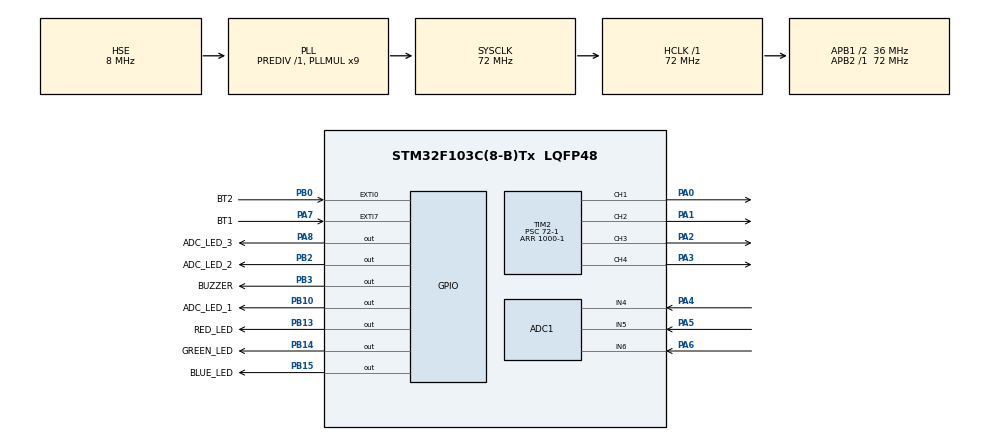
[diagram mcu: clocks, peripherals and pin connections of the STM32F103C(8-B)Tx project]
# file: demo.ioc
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ADC1.Channel-0\#ChannelRegularConversion=ADC_CHANNEL_4
ADC1.Channel-1\#ChannelRegularConversion=ADC_CHANNEL_5
ADC1.Channel-2\#ChannelRegularConversion=ADC_CHANNEL_6
ADC1.ContinuousConvMode=ENABLE
ADC1.NbrOfConversion=3
ADC1.NbrOfConversionFlag=1
ADC1.Rank-0\#ChannelRegularConversion=1
ADC1.Rank-1\#ChannelRegularConversion=2
ADC1.Rank-2\#ChannelRegularConversion=3
ADC1.SamplingTime-0\#ChannelRegularConversion=ADC_SAMPLETIME_239CYCLES_5
ADC1.SamplingTime-1\#ChannelRegularConversion=ADC_SAMPLETIME_239CYCLES_5
ADC1.SamplingTime-2\#ChannelRegularConversion=ADC_SAMPLETIME_239CYCLES_5
ADC1.master=1
Dma.ADC1.0.Direction=DMA_PERIPH_TO_MEMORY
Dma.ADC1.0.Instance=DMA1_Channel1
Dma.ADC1.0.MemDataAlignment=DMA_MDATAALIGN_HALFWORD
Dma.ADC1.0.MemInc=DMA_MINC_ENABLE
Dma.ADC1.0.Mode=DMA_CIRCULAR
Dma.ADC1.0.PeriphDataAlignment=DMA_PDATAALIGN_HALFWORD
Dma.ADC1.0.PeriphInc=DMA_PINC_DISABLE
Dma.ADC1.0.Priority=DMA_PRIORITY_LOW
Dma.Request0=ADC1
FREERTOS.Tasks01=defaultTask,-2,128,StartDefaultTask,Default,NULL,Dynamic,NULL,NULL;PIDTask,1,128,StartPIDTask,Default,NULL,Dynamic,NULL,NULL;LEDTask,-1,128,StartLEDTask,Default,NULL,Dynamic,NULL,NULL
FREERTOS.configUSE_NEWLIB_REENTRANT=1
Mcu.Family=STM32F1
Mcu.Name=STM32F103C(8-B)Tx
Mcu.Package=LQFP48
NVIC.DMA1_Channel1_IRQn=true\:5\:0\:false\:false\:true\:true\:false\:true\:true
NVIC.EXTI0_IRQn=true\:5\:0\:false\:false\:true\:true\:true\:true\:true
NVIC.EXTI9_5_IRQn=true\:5\:0\:false\:false\:true\:true\:true\:true\:true
NVIC.PriorityGroup=NVIC_PRIORITYGROUP_4
NVIC.TIM1_UP_IRQn=true\:15\:0\:false\:false\:true\:false\:false\:true\:true
NVIC.TimeBase=TIM1_UP_IRQn
NVIC.TimeBaseIP=TIM1
PA0-WKUP.Signal=S_TIM2_CH1_ETR
PA1.Signal=S_TIM2_CH2
PA13.Mode=Serial_Wire
PA13.Signal=SYS_JTMS-SWDIO
PA14.Mode=Serial_Wire
PA14.Signal=SYS_JTCK-SWCLK
PA2.Signal=S_TIM2_CH3
PA3.Signal=S_TIM2_CH4
PA4.Signal=ADCx_IN4
PA5.Signal=ADCx_IN5
PA6.Signal=ADCx_IN6
PA7.GPIO_Label=BT1
PA7.GPIO_PuPd=GPIO_PULLUP
PA7.Signal=GPXTI7
PA8.GPIO_Label=ADC_LED_3
PA8.Signal=GPIO_Output
PB0.GPIO_Label=BT2
PB0.GPIO_PuPd=GPIO_PULLUP
PB0.Signal=GPXTI0
PB10.GPIO_Label=ADC_LED_1
PB10.Signal=GPIO_Output
PB13.GPIO_Label=RED_LED
PB13.Signal=GPIO_Output
PB14.GPIO_Label=GREEN_LED
PB14.Signal=GPIO_Output
PB15.GPIO_Label=BLUE_LED
PB15.Signal=GPIO_Output
PB2.GPIO_Label=ADC_LED_2
PB2.Signal=GPIO_Output
PB3.GPIO_Label=BUZZER
PB3.Signal=GPIO_Output
PD0-OSC_IN.Mode=HSE-External-Oscillator
PD0-OSC_IN.Signal=RCC_OSC_IN
PD1-OSC_OUT.Mode=HSE-External-Oscillator
PD1-OSC_OUT.Signal=RCC_OSC_OUT
ProjectManager.HeapSize=0x200
ProjectManager.StackSize=0x400
ProjectManager.TargetToolchain=STM32CubeIDE
RCC.ADCPresc=RCC_ADCPCLK2_DIV6
RCC.AHBFreq_Value=72000000
RCC.APB1CLKDivider=RCC_HCLK_DIV2
RCC.APB1Freq_Value=36000000
RCC.APB1TimFreq_Value=72000000
RCC.APB2Freq_Value=72000000
RCC.APB2TimFreq_Value=72000000
RCC.HCLKFreq_Value=72000000
RCC.PLLMUL=RCC_PLL_MUL9
RCC.PLLSourceVirtual=RCC_PLLSOURCE_HSE
RCC.SYSCLKFreq_VALUE=72000000
RCC.SYSCLKSource=RCC_SYSCLKSOURCE_PLLCLK
RCC.USBFreq_Value=72000000
SH.ADCx_IN4.0=ADC1_IN4,IN4
SH.ADCx_IN5.0=ADC1_IN5,IN5
SH.ADCx_IN6.0=ADC1_IN6,IN6
SH.S_TIM2_CH1_ETR.0=TIM2_CH1,PWM Generation1 CH1
SH.S_TIM2_CH2.0=TIM2_CH2,PWM Generation2 CH2
SH.S_TIM2_CH3.0=TIM2_CH3,PWM Generation3 CH3
SH.S_TIM2_CH4.0=TIM2_CH4,PWM Generation4 CH4
TIM2.Channel-PWM\ Generation1\ CH1=TIM_CHANNEL_1
TIM2.Channel-PWM\ Generation2\ CH2=TIM_CHANNEL_2
TIM2.Channel-PWM\ Generation3\ CH3=TIM_CHANNEL_3
TIM2.Channel-PWM\ Generation4\ CH4=TIM_CHANNEL_4
TIM2.Period=1000-1
TIM2.Prescaler=72-1
VP_FREERTOS_VS_CMSIS_V1.Mode=CMSIS_V1
VP_SYS_VS_tim1.Mode=TIM1
board=custom

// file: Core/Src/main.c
/* USER CODE BEGIN Header */
/**
  ******************************************************************************
  * @file           : main.c
  * @brief          : Main program body
  ******************************************************************************
  * @attention
  *
  * Copyright (c) 2024 STMicroelectronics.
  * All rights reserved.
  *
  * This software is licensed under terms that can be found in the LICENSE file
  * in the root directory of this software component.
  * If no LICENSE file comes with this software, it is provided AS-IS.
  *
  ******************************************************************************
  */
/* USER CODE END Header */
#include "main.h"
#include "cmsis_os.h"

/* USER CODE BEGIN Includes */
#include "stdlib.h"
/* USER CODE END Includes */

ADC_HandleTypeDef hadc1;
DMA_HandleTypeDef hdma_adc1;

TIM_HandleTypeDef htim2;

osThreadId defaultTaskHandle;
osThreadId PIDTaskHandle;
osThreadId LEDTaskHandle;
/* USER CODE BEGIN PV */
int16_t lsp, rsp;

uint16_t sensor_value[3];
uint16_t MinOfMax[3] = {2400};
uint16_t MaxOfMin[3] = {1200};
uint16_t v_compare[3];
uint16_t calib_weight[3] = {0, 400, 800};
uint8_t start_learn = 0;
uint8_t run_enable = 0;
uint8_t ready = 0;
float error;
float uP, uI, uD, u;
float deltaT = 0.001;
float pre_uI, pre_error;

////CONFIG HERE/////
int16_t speed = 900;
float kP = 1.5;
float kD = 0.3;

///////////////////

/* USER CODE END PV */

void SystemClock_Config(void);
static void MX_GPIO_Init(void);
static void MX_DMA_Init(void);
static void MX_ADC1_Init(void);
static void MX_TIM2_Init(void);
void StartDefaultTask(void const * argument);
void StartPIDTask(void const * argument);
void StartLEDTask(void const * argument);

/* USER CODE BEGIN 0 */
uint8_t get_sensor_mask(void)
{
	uint8_t temp = 0;
	for(uint8_t i = 0; i < 3; i++)
	{
		temp <<= 1;
		if(sensor_value[i] > v_compare[i])
		{
			temp |= 0x01;
		}
		else
		{
			temp &= 0x06;
		}
	}
	return temp;
}

void run(int16_t left_speed, int16_t right_speed)
{
	if(left_speed > 0)
	{
		__HAL_TIM_SET_COMPARE(&htim2, TIM_CHANNEL_1, 0);
		__HAL_TIM_SET_COMPARE(&htim2, TIM_CHANNEL_2, left_speed);
	}
	else if(left_speed < 0)
	{
		__HAL_TIM_SET_COMPARE(&htim2, TIM_CHANNEL_1, abs(left_speed));
		__HAL_TIM_SET_COMPARE(&htim2, TIM_CHANNEL_2, 0);
	}
	else
	{
		__HAL_TIM_SET_COMPARE(&htim2, TIM_CHANNEL_1, 0);
		__HAL_TIM_SET_COMPARE(&htim2, TIM_CHANNEL_2, 0);
	}
	if(right_speed > 0)
	{
		__HAL_TIM_SET_COMPARE(&htim2, TIM_CHANNEL_3, 0);
		__HAL_TIM_SET_COMPARE(&htim2, TIM_CHANNEL_4, right_speed);
	}
	else if(right_speed < 0)
	{
		__HAL_TIM_SET_COMPARE(&htim2, TIM_CHANNEL_3, abs(right_speed));
		__HAL_TIM_SET_COMPARE(&htim2, TIM_CHANNEL_4, 0);
	}
	else
	{
		__HAL_TIM_SET_COMPARE(&htim2, TIM_CHANNEL_3, 0);
		__HAL_TIM_SET_COMPARE(&htim2, TIM_CHANNEL_4, 0);
	}
}

void PID(float kP, float kD)
{
	error = sensor_value[2] - sensor_value[0];

	uP = kP * error;
	uD = kD * ((error - pre_error)/deltaT);

	u = uP + uD;

	if(u > 1000) u = 1000;
	else if(u < -1000) u = -1000;

	pre_error = error;
//	pre_uI = uI;

	lsp = speed - u;
	rsp = speed + u;

	run(lsp, rsp);
}

void HAL_GPIO_EXTI_Callback(uint16_t GPIO_Pin)
{
	if(GPIO_Pin == BT1_Pin)
	{
		start_learn = 1;
	}
	if(GPIO_Pin == BT2_Pin)
	{
		run_enable = 1;
	}
}
/* USER CODE END 0 */

int main(void)
{

  /* MCU Configuration--------------------------------------------------------*/

  /* Reset of all peripherals, Initializes the Flash interface and the Systick. */
  HAL_Init();

  /* Configure the system clock */
  SystemClock_Config();

  /* Initialize all configured peripherals */
  MX_GPIO_Init();
  MX_DMA_Init();
  MX_ADC1_Init();
  MX_TIM2_Init();
  /* USER CODE BEGIN 2 */
  HAL_TIM_PWM_Start(&htim2, TIM_CHANNEL_1);
  HAL_TIM_PWM_Start(&htim2, TIM_CHANNEL_2);
  HAL_TIM_PWM_Start(&htim2, TIM_CHANNEL_3);
  HAL_TIM_PWM_Start(&htim2, TIM_CHANNEL_4);

  HAL_ADC_Start_DMA(&hadc1, sensor_value, 3);
  /* USER CODE END 2 */

  /* Create the thread(s) */
  /* definition and creation of defaultTask */
  osThreadDef(defaultTask, StartDefaultTask, osPriorityLow, 0, 128);
  defaultTaskHandle = osThreadCreate(osThread(defaultTask), NULL);

  /* definition and creation of PIDTask */
  osThreadDef(PIDTask, StartPIDTask, osPriorityAboveNormal, 0, 128);
  PIDTaskHandle = osThreadCreate(osThread(PIDTask), NULL);

  /* definition and creation of LEDTask */
  osThreadDef(LEDTask, StartLEDTask, osPriorityBelowNormal, 0, 128);
  LEDTaskHandle = osThreadCreate(osThread(LEDTask), NULL);

  /* Start scheduler */
  osKernelStart();

  /* We should never get here as control is now taken by the scheduler */
  /* Infinite loop */
  while (1)
  {

  }
}

void SystemClock_Config(void)
{
  RCC_OscInitTypeDef RCC_OscInitStruct = {0};
  RCC_ClkInitTypeDef RCC_ClkInitStruct = {0};
  RCC_PeriphCLKInitTypeDef PeriphClkInit = {0};

  /** Initializes the RCC Oscillators according to the specified parameters
  * in the RCC_OscInitTypeDef structure.
  */
  RCC_OscInitStruct.OscillatorType = RCC_OSCILLATORTYPE_HSE;
  RCC_OscInitStruct.HSEState = RCC_HSE_ON;
  RCC_OscInitStruct.HSEPredivValue = RCC_HSE_PREDIV_DIV1;
  RCC_OscInitStruct.HSIState = RCC_HSI_ON;
  RCC_OscInitStruct.PLL.PLLState = RCC_PLL_ON;
  RCC_OscInitStruct.PLL.PLLSource = RCC_PLLSOURCE_HSE;
  RCC_OscInitStruct.PLL.PLLMUL = RCC_PLL_MUL9;
  if (HAL_RCC_OscConfig(&RCC_OscInitStruct) != HAL_OK)
  {
    Error_Handler();
  }

  /** Initializes the CPU, AHB and APB buses clocks
  */
  RCC_ClkInitStruct.ClockType = RCC_CLOCKTYPE_HCLK|RCC_CLOCKTYPE_SYSCLK
                              |RCC_CLOCKTYPE_PCLK1|RCC_CLOCKTYPE_PCLK2;
  RCC_ClkInitStruct.SYSCLKSource = RCC_SYSCLKSOURCE_PLLCLK;
  RCC_ClkInitStruct.AHBCLKDivider = RCC_SYSCLK_DIV1;
  RCC_ClkInitStruct.APB1CLKDivider = RCC_HCLK_DIV2;
  RCC_ClkInitStruct.APB2CLKDivider = RCC_HCLK_DIV1;

  if (HAL_RCC_ClockConfig(&RCC_ClkInitStruct, FLASH_LATENCY_2) != HAL_OK)
  {
    Error_Handler();
  }
  PeriphClkInit.PeriphClockSelection = RCC_PERIPHCLK_ADC;
  PeriphClkInit.AdcClockSelection = RCC_ADCPCLK2_DIV6;
  if (HAL_RCCEx_PeriphCLKConfig(&PeriphClkInit) != HAL_OK)
  {
    Error_Handler();
  }
}

static void MX_ADC1_Init(void)
{

  ADC_ChannelConfTypeDef sConfig = {0};

  /** Common config
  */
  hadc1.Instance = ADC1;
  hadc1.Init.ScanConvMode = ADC_SCAN_ENABLE;
  hadc1.Init.ContinuousConvMode = ENABLE;
  hadc1.Init.DiscontinuousConvMode = DISABLE;
  hadc1.Init.ExternalTrigConv = ADC_SOFTWARE_START;
  hadc1.Init.DataAlign = ADC_DATAALIGN_RIGHT;
  hadc1.Init.NbrOfConversion = 3;
  if (HAL_ADC_Init(&hadc1) != HAL_OK)
  {
    Error_Handler();
  }

  /** Configure Regular Channel
  */
  sConfig.Channel = ADC_CHANNEL_4;
  sConfig.Rank = ADC_REGULAR_RANK_1;
  sConfig.SamplingTime = ADC_SAMPLETIME_239CYCLES_5;
  if (HAL_ADC_ConfigChannel(&hadc1, &sConfig) != HAL_OK)
  {
    Error_Handler();
  }

  /** Configure Regular Channel
  */
  sConfig.Channel = ADC_CHANNEL_5;
  sConfig.Rank = ADC_REGULAR_RANK_2;
  if (HAL_ADC_ConfigChannel(&hadc1, &sConfig) != HAL_OK)
  {
    Error_Handler();
  }

  /** Configure Regular Channel
  */
  sConfig.Channel = ADC_CHANNEL_6;
  sConfig.Rank = ADC_REGULAR_RANK_3;
  if (HAL_ADC_ConfigChannel(&hadc1, &sConfig) != HAL_OK)
  {
    Error_Handler();
  }

}

static void MX_TIM2_Init(void)
{

  TIM_MasterConfigTypeDef sMasterConfig = {0};
  TIM_OC_InitTypeDef sConfigOC = {0};

  htim2.Instance = TIM2;
  htim2.Init.Prescaler = 72-1;
  htim2.Init.CounterMode = TIM_COUNTERMODE_UP;
  htim2.Init.Period = 1000-1;
  htim2.Init.ClockDivision = TIM_CLOCKDIVISION_DIV1;
  htim2.Init.AutoReloadPreload = TIM_AUTORELOAD_PRELOAD_DISABLE;
  if (HAL_TIM_PWM_Init(&htim2) != HAL_OK)
  {
    Error_Handler();
  }
  sMasterConfig.MasterOutputTrigger = TIM_TRGO_RESET;
  sMasterConfig.MasterSlaveMode = TIM_MASTERSLAVEMODE_DISABLE;
  if (HAL_TIMEx_MasterConfigSynchronization(&htim2, &sMasterConfig) != HAL_OK)
  {
    Error_Handler();
  }
  sConfigOC.OCMode = TIM_OCMODE_PWM1;
  sConfigOC.Pulse = 0;
  sConfigOC.OCPolarity = TIM_OCPOLARITY_HIGH;
  sConfigOC.OCFastMode = TIM_OCFAST_DISABLE;
  if (HAL_TIM_PWM_ConfigChannel(&htim2, &sConfigOC, TIM_CHANNEL_1) != HAL_OK)
  {
    Error_Handler();
  }
  if (HAL_TIM_PWM_ConfigChannel(&htim2, &sConfigOC, TIM_CHANNEL_2) != HAL_OK)
  {
    Error_Handler();
  }
  if (HAL_TIM_PWM_ConfigChannel(&htim2, &sConfigOC, TIM_CHANNEL_3) != HAL_OK)
  {
    Error_Handler();
  }
  if (HAL_TIM_PWM_ConfigChannel(&htim2, &sConfigOC, TIM_CHANNEL_4) != HAL_OK)
  {
    Error_Handler();
  }
  HAL_TIM_MspPostInit(&htim2);

}

static void MX_DMA_Init(void)
{

  /* DMA controller clock enable */
  __HAL_RCC_DMA1_CLK_ENABLE();

  /* DMA interrupt init */
  /* DMA1_Channel1_IRQn interrupt configuration */
  HAL_NVIC_SetPriority(DMA1_Channel1_IRQn, 5, 0);
  HAL_NVIC_EnableIRQ(DMA1_Channel1_IRQn);

}

static void MX_GPIO_Init(void)
{
  GPIO_InitTypeDef GPIO_InitStruct = {0};

  /* GPIO Ports Clock Enable */
  __HAL_RCC_GPIOD_CLK_ENABLE();
  __HAL_RCC_GPIOA_CLK_ENABLE();
  __HAL_RCC_GPIOB_CLK_ENABLE();

  /*Configure GPIO pin Output Level */
  HAL_GPIO_WritePin(GPIOB, ADC_LED_2_Pin|ADC_LED_1_Pin|RED_LED_Pin|GREEN_LED_Pin
                          |BLUE_LED_Pin|BUZZER_Pin, GPIO_PIN_RESET);

  /*Configure GPIO pin Output Level */
  HAL_GPIO_WritePin(ADC_LED_3_GPIO_Port, ADC_LED_3_Pin, GPIO_PIN_RESET);

  /*Configure GPIO pin : BT1_Pin */
  GPIO_InitStruct.Pin = BT1_Pin;
  GPIO_InitStruct.Mode = GPIO_MODE_IT_RISING;
  GPIO_InitStruct.Pull = GPIO_PULLUP;
  HAL_GPIO_Init(BT1_GPIO_Port, &GPIO_InitStruct);

  /*Configure GPIO pin : BT2_Pin */
  GPIO_InitStruct.Pin = BT2_Pin;
  GPIO_InitStruct.Mode = GPIO_MODE_IT_RISING;
  GPIO_InitStruct.Pull = GPIO_PULLUP;
  HAL_GPIO_Init(BT2_GPIO_Port, &GPIO_InitStruct);

  /*Configure GPIO pins : ADC_LED_2_Pin ADC_LED_1_Pin RED_LED_Pin GREEN_LED_Pin
                           BLUE_LED_Pin BUZZER_Pin */
  GPIO_InitStruct.Pin = ADC_LED_2_Pin|ADC_LED_1_Pin|RED_LED_Pin|GREEN_LED_Pin
                          |BLUE_LED_Pin|BUZZER_Pin;
  GPIO_InitStruct.Mode = GPIO_MODE_OUTPUT_PP;
  GPIO_InitStruct.Pull = GPIO_NOPULL;
  GPIO_InitStruct.Speed = GPIO_SPEED_FREQ_LOW;
  HAL_GPIO_Init(GPIOB, &GPIO_InitStruct);

  /*Configure GPIO pin : ADC_LED_3_Pin */
  GPIO_InitStruct.Pin = ADC_LED_3_Pin;
  GPIO_InitStruct.Mode = GPIO_MODE_OUTPUT_PP;
  GPIO_InitStruct.Pull = GPIO_NOPULL;
  GPIO_InitStruct.Speed = GPIO_SPEED_FREQ_LOW;
  HAL_GPIO_Init(ADC_LED_3_GPIO_Port, &GPIO_InitStruct);

  /* EXTI interrupt init*/
  HAL_NVIC_SetPriority(EXTI0_IRQn, 5, 0);
  HAL_NVIC_EnableIRQ(EXTI0_IRQn);

  HAL_NVIC_SetPriority(EXTI9_5_IRQn, 5, 0);
  HAL_NVIC_EnableIRQ(EXTI9_5_IRQn);

}

void StartDefaultTask(void const * argument)
{
  /* USER CODE BEGIN 5 */
  /* Infinite loop */
  for(;;)
  {
	if(start_learn)
	{
		HAL_GPIO_WritePin(RED_LED_GPIO_Port, RED_LED_Pin, 0);
		HAL_GPIO_WritePin(GREEN_LED_GPIO_Port, GREEN_LED_Pin, 1);
		HAL_GPIO_WritePin(BLUE_LED_GPIO_Port, BLUE_LED_Pin, 1);
		osDelay(1000);
		for(int i = 0; i < 500000; i++)
		{
			run(200, -200);
			for(uint8_t j = 0; j < 3; j++)
			{
				if(sensor_value[j] > MaxOfMin[j])
				{
					MaxOfMin[j] = sensor_value[j];
				}
				if(sensor_value[j] < MinOfMax[j])
				{
					MinOfMax[j] = sensor_value[j];
				}
			}
		}
		run(0, 0);
		for(uint8_t i = 0; i < 3; i++)
		{
			v_compare[i] = (MinOfMax[i] + MaxOfMin[i]) / 2 + calib_weight[i];
		}
		start_learn = 0;
	}
	switch(get_sensor_mask())
	{
		case 0x04:			// 100
//			HAL_GPIO_WritePin(RED_LED_GPIO_Port, RED_LED_Pin, 0);
//			HAL_GPIO_WritePin(GREEN_LED_GPIO_Port, GREEN_LED_Pin, 0);
//			HAL_GPIO_WritePin(BLUE_LED_GPIO_Port, BLUE_LED_Pin, 1);
			HAL_GPIO_WritePin(ADC_LED_1_GPIO_Port, ADC_LED_1_Pin, 0);
			HAL_GPIO_WritePin(ADC_LED_2_GPIO_Port, ADC_LED_2_Pin, 0);
			HAL_GPIO_WritePin(ADC_LED_3_GPIO_Port, ADC_LED_3_Pin, 1);
			break;
		case 0x06:			// 110
//			HAL_GPIO_WritePin(RED_LED_GPIO_Port, RED_LED_Pin, 0);
//			HAL_GPIO_WritePin(GREEN_LED_GPIO_Port, GREEN_LED_Pin, 1);
//			HAL_GPIO_WritePin(BLUE_LED_GPIO_Port, BLUE_LED_Pin, 1);
			HAL_GPIO_WritePin(ADC_LED_1_GPIO_Port, ADC_LED_1_Pin, 0);
			HAL_GPIO_WritePin(ADC_LED_2_GPIO_Port, ADC_LED_2_Pin, 1);
			HAL_GPIO_WritePin(ADC_LED_3_GPIO_Port, ADC_LED_3_Pin, 1);
			break;
		case 0x02:			// 010
//			HAL_GPIO_WritePin(RED_LED_GPIO_Port, RED_LED_Pin, 0);
//			HAL_GPIO_WritePin(GREEN_LED_GPIO_Port, GREEN_LED_Pin, 1);
//			HAL_GPIO_WritePin(BLUE_LED_GPIO_Port, BLUE_LED_Pin, 0);
			HAL_GPIO_WritePin(ADC_LED_1_GPIO_Port, ADC_LED_1_Pin, 0);
			HAL_GPIO_WritePin(ADC_LED_2_GPIO_Port, ADC_LED_2_Pin, 1);
			HAL_GPIO_WritePin(ADC_LED_3_GPIO_Port, ADC_LED_3_Pin, 0);
			break;
		case 0x03:			// 011
//			HAL_GPIO_WritePin(RED_LED_GPIO_Port, RED_LED_Pin, 1);
//			HAL_GPIO_WritePin(GREEN_LED_GPIO_Port, GREEN_LED_Pin, 1);
//			HAL_GPIO_WritePin(BLUE_LED_GPIO_Port, BLUE_LED_Pin, 0);
			HAL_GPIO_WritePin(ADC_LED_1_GPIO_Port, ADC_LED_1_Pin, 1);
			HAL_GPIO_WritePin(ADC_LED_2_GPIO_Port, ADC_LED_2_Pin, 1);
			HAL_GPIO_WritePin(ADC_LED_3_GPIO_Port, ADC_LED_3_Pin, 0);
			break;
		case 0x01:			// 001
//			HAL_GPIO_WritePin(RED_LED_GPIO_Port, RED_LED_Pin, 1);
//			HAL_GPIO_WritePin(GREEN_LED_GPIO_Port, GREEN_LED_Pin, 0);
//			HAL_GPIO_WritePin(BLUE_LED_GPIO_Port, BLUE_LED_Pin, 0);
			HAL_GPIO_WritePin(ADC_LED_1_GPIO_Port, ADC_LED_1_Pin, 1);
			HAL_GPIO_WritePin(ADC_LED_2_GPIO_Port, ADC_LED_2_Pin, 0);
			HAL_GPIO_WritePin(ADC_LED_3_GPIO_Port, ADC_LED_3_Pin, 0);
			break;
		case 0x05:			// 101
//			HAL_GPIO_WritePin(RED_LED_GPIO_Port, RED_LED_Pin, 1);
//			HAL_GPIO_WritePin(GREEN_LED_GPIO_Port, GREEN_LED_Pin, 0);
//			HAL_GPIO_WritePin(BLUE_LED_GPIO_Port, BLUE_LED_Pin, 1);
			HAL_GPIO_WritePin(ADC_LED_1_GPIO_Port, ADC_LED_1_Pin, 1);
			HAL_GPIO_WritePin(ADC_LED_2_GPIO_Port, ADC_LED_2_Pin, 0);
			HAL_GPIO_WritePin(ADC_LED_3_GPIO_Port, ADC_LED_3_Pin, 1);
			break;
		case 0x07:			// 111
//			HAL_GPIO_WritePin(RED_LED_GPIO_Port, RED_LED_Pin, 1);
//			HAL_GPIO_WritePin(GREEN_LED_GPIO_Port, GREEN_LED_Pin, 1);
//			HAL_GPIO_WritePin(BLUE_LED_GPIO_Port, BLUE_LED_Pin, 1);
			HAL_GPIO_WritePin(ADC_LED_1_GPIO_Port, ADC_LED_1_Pin, 1);
			HAL_GPIO_WritePin(ADC_LED_2_GPIO_Port, ADC_LED_2_Pin, 1);
			HAL_GPIO_WritePin(ADC_LED_3_GPIO_Port, ADC_LED_3_Pin, 1);
			ready = 0;
			break;
		case 0x00:			// 000
//			HAL_GPIO_WritePin(RED_LED_GPIO_Port, RED_LED_Pin, 0);
//			HAL_GPIO_WritePin(GREEN_LED_GPIO_Port, GREEN_LED_Pin, 0);
//			HAL_GPIO_WritePin(BLUE_LED_GPIO_Port, BLUE_LED_Pin, 0);
			HAL_GPIO_WritePin(ADC_LED_1_GPIO_Port, ADC_LED_1_Pin, 0);
			HAL_GPIO_WritePin(ADC_LED_2_GPIO_Port, ADC_LED_2_Pin, 0);
			HAL_GPIO_WritePin(ADC_LED_3_GPIO_Port, ADC_LED_3_Pin, 0);
			break;
	}
    osDelay(1);
  }
  /* USER CODE END 5 */
}

void StartPIDTask(void const * argument)
{
  /* USER CODE BEGIN StartPIDTask */
  /* Infinite loop */
  for(;;)
  {
	if(run_enable)
	{
		osDelay(3000);
		ready = 1;
		run_enable = 0;
	}
	if(ready)
	{
		if(sensor_value[1] > v_compare[1])
		{
			PID(kP, kD);
		}
	}
	else if(!ready)
	{
		uP = 0;
		uI = 0;
		uD = 0;
		error = 0;
		pre_error = 0;
		pre_uI = 0;
		lsp = 0;
		rsp = 0;
		run(0, 0);
	}
    osDelay(1);
  }
  /* USER CODE END StartPIDTask */
}

void StartLEDTask(void const * argument)
{
  /* USER CODE BEGIN StartLEDTask */
  /* Infinite loop */
  for(;;)
  {
	if(run_enable || ready || start_learn)
	{
		HAL_GPIO_WritePin(RED_LED_GPIO_Port, RED_LED_Pin, 1);
		HAL_GPIO_WritePin(GREEN_LED_GPIO_Port, GREEN_LED_Pin, 0);
		HAL_GPIO_WritePin(BLUE_LED_GPIO_Port, BLUE_LED_Pin, 0);
		vTaskDelay(pdMS_TO_TICKS(200));
		HAL_GPIO_WritePin(RED_LED_GPIO_Port, RED_LED_Pin, 1);
		HAL_GPIO_WritePin(GREEN_LED_GPIO_Port, GREEN_LED_Pin, 1);
		HAL_GPIO_WritePin(BLUE_LED_GPIO_Port, BLUE_LED_Pin, 0);
		vTaskDelay(pdMS_TO_TICKS(200));
		HAL_GPIO_WritePin(RED_LED_GPIO_Port, RED_LED_Pin, 0);
		HAL_GPIO_WritePin(GREEN_LED_GPIO_Port, GREEN_LED_Pin, 1);
		HAL_GPIO_WritePin(BLUE_LED_GPIO_Port, BLUE_LED_Pin, 0);
		vTaskDelay(pdMS_TO_TICKS(200));
		HAL_GPIO_WritePin(RED_LED_GPIO_Port, RED_LED_Pin, 0);
		HAL_GPIO_WritePin(GREEN_LED_GPIO_Port, GREEN_LED_Pin, 1);
		HAL_GPIO_WritePin(BLUE_LED_GPIO_Port, BLUE_LED_Pin, 1);
		vTaskDelay(pdMS_TO_TICKS(200));
		HAL_GPIO_WritePin(RED_LED_GPIO_Port, RED_LED_Pin, 0);
		HAL_GPIO_WritePin(GREEN_LED_GPIO_Port, GREEN_LED_Pin, 0);
		HAL_GPIO_WritePin(BLUE_LED_GPIO_Port, BLUE_LED_Pin, 1);
		vTaskDelay(pdMS_TO_TICKS(200));
		HAL_GPIO_WritePin(RED_LED_GPIO_Port, RED_LED_Pin, 1);
		HAL_GPIO_WritePin(GREEN_LED_GPIO_Port, GREEN_LED_Pin, 0);
		HAL_GPIO_WritePin(BLUE_LED_GPIO_Port, BLUE_LED_Pin, 1);
		vTaskDelay(pdMS_TO_TICKS(200));
		HAL_GPIO_WritePin(RED_LED_GPIO_Port, RED_LED_Pin, 1);
		HAL_GPIO_WritePin(GREEN_LED_GPIO_Port, GREEN_LED_Pin, 1);
		HAL_GPIO_WritePin(BLUE_LED_GPIO_Port, BLUE_LED_Pin, 1);
		vTaskDelay(pdMS_TO_TICKS(200));
		HAL_GPIO_WritePin(RED_LED_GPIO_Port, RED_LED_Pin, 1);
		HAL_GPIO_WritePin(GREEN_LED_GPIO_Port, GREEN_LED_Pin, 0);
		HAL_GPIO_WritePin(BLUE_LED_GPIO_Port, BLUE_LED_Pin, 0);
		vTaskDelay(pdMS_TO_TICKS(200));
		HAL_GPIO_WritePin(RED_LED_GPIO_Port, RED_LED_Pin, 1);
		HAL_GPIO_WritePin(GREEN_LED_GPIO_Port, GREEN_LED_Pin, 1);
		HAL_GPIO_WritePin(BLUE_LED_GPIO_Port, BLUE_LED_Pin, 0);
		vTaskDelay(pdMS_TO_TICKS(200));
		HAL_GPIO_WritePin(RED_LED_GPIO_Port, RED_LED_Pin, 0);
		HAL_GPIO_WritePin(GREEN_LED_GPIO_Port, GREEN_LED_Pin, 1);
		HAL_GPIO_WritePin(BLUE_LED_GPIO_Port, BLUE_LED_Pin, 0);
		vTaskDelay(pdMS_TO_TICKS(200));
		HAL_GPIO_WritePin(RED_LED_GPIO_Port, RED_LED_Pin, 0);
		HAL_GPIO_WritePin(GREEN_LED_GPIO_Port, GREEN_LED_Pin, 1);
		HAL_GPIO_WritePin(BLUE_LED_GPIO_Port, BLUE_LED_Pin, 1);
		vTaskDelay(pdMS_TO_TICKS(200));
		HAL_GPIO_WritePin(RED_LED_GPIO_Port, RED_LED_Pin, 0);
		HAL_GPIO_WritePin(GREEN_LED_GPIO_Port, GREEN_LED_Pin, 0);
		HAL_GPIO_WritePin(BLUE_LED_GPIO_Port, BLUE_LED_Pin, 1);
		vTaskDelay(pdMS_TO_TICKS(200));
		HAL_GPIO_WritePin(RED_LED_GPIO_Port, RED_LED_Pin, 1);
		HAL_GPIO_WritePin(GREEN_LED_GPIO_Port, GREEN_LED_Pin, 0);
		HAL_GPIO_WritePin(BLUE_LED_GPIO_Port, BLUE_LED_Pin, 1);
		vTaskDelay(pdMS_TO_TICKS(200));
		HAL_GPIO_WritePin(RED_LED_GPIO_Port, RED_LED_Pin, 1);
		HAL_GPIO_WritePin(GREEN_LED_GPIO_Port, GREEN_LED_Pin, 1);
		HAL_GPIO_WritePin(BLUE_LED_GPIO_Port, BLUE_LED_Pin, 1);
		vTaskDelay(pdMS_TO_TICKS(200));
		HAL_GPIO_WritePin(RED_LED_GPIO_Port, RED_LED_Pin, 1);
		HAL_GPIO_WritePin(GREEN_LED_GPIO_Port, GREEN_LED_Pin, 0);
		HAL_GPIO_WritePin(BLUE_LED_GPIO_Port, BLUE_LED_Pin, 0);
		vTaskDelay(pdMS_TO_TICKS(200));
		HAL_GPIO_WritePin(RED_LED_GPIO_Port, RED_LED_Pin, 1);
		HAL_GPIO_WritePin(GREEN_LED_GPIO_Port, GREEN_LED_Pin, 1);
		HAL_GPIO_WritePin(BLUE_LED_GPIO_Port, BLUE_LED_Pin, 0);
		vTaskDelay(pdMS_TO_TICKS(200));
		HAL_GPIO_WritePin(RED_LED_GPIO_Port, RED_LED_Pin, 0);
		HAL_GPIO_WritePin(GREEN_LED_GPIO_Port, GREEN_LED_Pin, 1);
		HAL_GPIO_WritePin(BLUE_LED_GPIO_Port, BLUE_LED_Pin, 0);
		vTaskDelay(pdMS_TO_TICKS(200));
		HAL_GPIO_WritePin(RED_LED_GPIO_Port, RED_LED_Pin, 0);
		HAL_GPIO_WritePin(GREEN_LED_GPIO_Port, GREEN_LED_Pin, 1);
		HAL_GPIO_WritePin(BLUE_LED_GPIO_Port, BLUE_LED_Pin, 1);
		vTaskDelay(pdMS_TO_TICKS(200));
		HAL_GPIO_WritePin(RED_LED_GPIO_Port, RED_LED_Pin, 0);
		HAL_GPIO_WritePin(GREEN_LED_GPIO_Port, GREEN_LED_Pin, 0);
		HAL_GPIO_WritePin(BLUE_LED_GPIO_Port, BLUE_LED_Pin, 1);
		vTaskDelay(pdMS_TO_TICKS(200));
		HAL_GPIO_WritePin(RED_LED_GPIO_Port, RED_LED_Pin, 1);
		HAL_GPIO_WritePin(GREEN_LED_GPIO_Port, GREEN_LED_Pin, 0);
		HAL_GPIO_WritePin(BLUE_LED_GPIO_Port, BLUE_LED_Pin, 1);
		vTaskDelay(pdMS_TO_TICKS(200));
		HAL_GPIO_WritePin(RED_LED_GPIO_Port, RED_LED_Pin, 1);
		HAL_GPIO_WritePin(GREEN_LED_GPIO_Port, GREEN_LED_Pin, 1);
		HAL_GPIO_WritePin(BLUE_LED_GPIO_Port, BLUE_LED_Pin, 1);
		vTaskDelay(pdMS_TO_TICKS(200));
	}
	else
	{
		HAL_GPIO_WritePin(RED_LED_GPIO_Port, RED_LED_Pin, 0);
		HAL_GPIO_WritePin(GREEN_LED_GPIO_Port, GREEN_LED_Pin, 0);
		HAL_GPIO_WritePin(BLUE_LED_GPIO_Port, BLUE_LED_Pin, 0);
	}
    osDelay(1);
  }
  /* USER CODE END StartLEDTask */
}

void HAL_TIM_PeriodElapsedCallback(TIM_HandleTypeDef *htim)
{
  if (htim->Instance == TIM1) {
    HAL_IncTick();
  }
}

void Error_Handler(void)
{
  __disable_irq();
  while (1)
  {
  }
}
